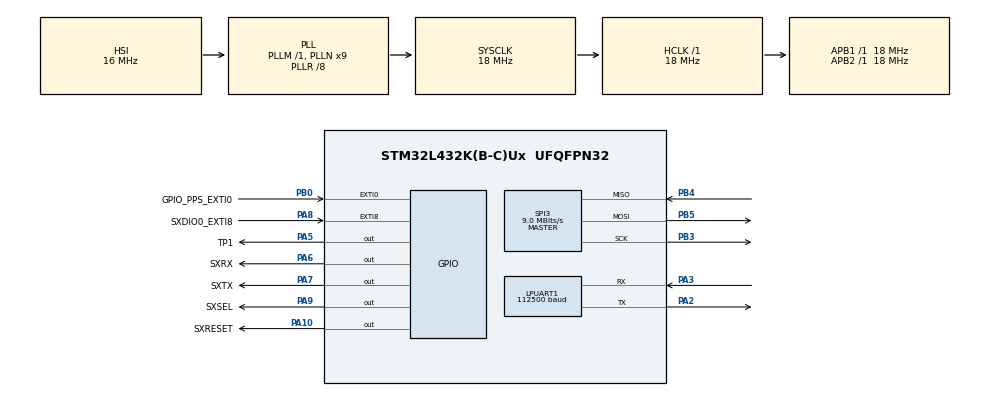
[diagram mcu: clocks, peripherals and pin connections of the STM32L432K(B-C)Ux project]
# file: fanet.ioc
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Mcu.Family=STM32L4
RCC.CortexFreq_Value=18000000
SPI3.Direction=SPI_DIRECTION_2LINES
SPI3.VirtualType=VM_MASTER
SPI3.NSSPMode=SPI_NSS_PULSE_DISABLE
PA2.GPIO_Speed=GPIO_SPEED_FREQ_VERY_HIGH
LPUART1.WordLength=UART_WORDLENGTH_8B
PB0.GPIO_Label=GPIO_PPS_EXTI0
PA6.GPIO_Label=SXRX
PB4\ (NJTRST).GPIO_Speed=GPIO_SPEED_FREQ_VERY_HIGH
PA3.GPIO_Speed=GPIO_SPEED_FREQ_VERY_HIGH
RCC.SYSCLKSource=RCC_SYSCLKSOURCE_PLLCLK
ProjectManager.StackSize=0x400
PB3\ (JTDO-TRACESWO).Signal=SPI3_SCK
PA14\ (JTCK-SWCLK).Signal=SYS_JTCK-SWCLK
NVIC.LPUART1_IRQn=true\:1\:0\:true\:false\:true\:true\:true
RCC.HCLKFreq_Value=18000000
RCC.APB2TimFreq_Value=18000000
RCC.AHBFreq_Value=18000000
SPI3.DataSize=SPI_DATASIZE_8BIT
RCC.HSE_VALUE=8000000
PB5.Mode=Full_Duplex_Master
PA10.GPIO_Label=SXRESET
PA8.Signal=GPXTI8
Dma.LPUART_RX.0.Direction=DMA_PERIPH_TO_MEMORY
Dma.LPUART_RX.0.Priority=DMA_PRIORITY_MEDIUM
Mcu.Package=UFQFPN32
PA6.Signal=GPIO_Output
SPI3.Mode=SPI_MODE_MASTER
PA10.Signal=GPIO_Output
PB5.GPIO_Speed=GPIO_SPEED_FREQ_VERY_HIGH
RCC.APB1TimFreq_Value=18000000
PA13\ (JTMS-SWDIO).Signal=SYS_JTMS-SWDIO
Dma.Request0=LPUART_RX
RCC.HSI48_VALUE=48000000
RCC.PLLSAI1N=24
PA3.Signal=LPUART1_RX
Dma.LPUART_RX.0.PeriphDataAlignment=DMA_PDATAALIGN_BYTE
RCC.MSI_VALUE=4000000
RCC.PLLSourceVirtual=RCC_PLLSOURCE_HSI
PA14\ (JTCK-SWCLK).Mode=Serial_Wire
PA9.GPIO_Label=SXSEL
Dma.LPUART_RX.0.Instance=DMA2_Channel7
Dma.LPUART_RX.0.MemDataAlignment=DMA_MDATAALIGN_BYTE
PA3.Mode=Asynchronous
PA8.GPIO_Label=SXDIO0_EXTI8
ProjectManager.TargetToolchain=SW4STM32
PA9.Signal=GPIO_Output
RCC.USBFreq_Value=192000000
RCC.LSE_VALUE=32768
PA5.Signal=GPIO_Output
board=fanet
SPI3.CLKPhase=SPI_PHASE_1EDGE
RCC.VCOOutputFreq_Value=144000000
Dma.LPUART_RX.0.Mode=DMA_CIRCULAR
RCC.APB2Freq_Value=18000000
SPI3.CalculateBaudRate=9.0 MBits/s
PB3\ (JTDO-TRACESWO).Mode=Full_Duplex_Master
RCC.ADCFreq_Value=192000000
SPI3.BaudRatePrescaler=SPI_BAUDRATEPRESCALER_2
PB4\ (NJTRST).Mode=Full_Duplex_Master
Mcu.Name=STM32L432K(B-C)Ux
LPUART1.BaudRate=112500
PA2.Signal=LPUART1_TX
PA13\ (JTMS-SWDIO).Mode=Serial_Wire
NVIC.EXTI0_IRQn=true\:3\:0\:true\:false\:true\:true\:true
RCC.SYSCLKFreq_VALUE=18000000
PB5.Signal=SPI3_MOSI
Dma.LPUART_RX.0.PeriphInc=DMA_PINC_DISABLE
PA7.GPIO_Label=SXTX
PA5.GPIO_Label=TP1
NVIC.EXTI9_5_IRQn=true\:2\:0\:true\:false\:true\:true\:true
ProjectManager.HeapSize=0x200
NVIC.DMA2_Channel7_IRQn=true\:0\:0\:false\:false\:true\:false\:true
RCC.HSI_VALUE=16000000
PA8.GPIO_PuPd=GPIO_PULLDOWN
NVIC.PriorityGroup=NVIC_PRIORITYGROUP_4
RCC.PLLR=RCC_PLLR_DIV8
RCC.PLLN=9
PA2.Mode=Asynchronous
Dma.LPUART_RX.0.MemInc=DMA_MINC_ENABLE
PB3\ (JTDO-TRACESWO).GPIO_Speed=GPIO_SPEED_FREQ_VERY_HIGH
RCC.APB1Freq_Value=18000000
PB0.Signal=GPXTI0
PB0.GPIO_PuPd=GPIO_PULLDOWN
PA7.Signal=GPIO_Output
PB4\ (NJTRST).Signal=SPI3_MISO

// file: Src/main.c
/* USER CODE BEGIN Header */
/**
  ******************************************************************************
  * @file           : main.c
  * @brief          : Main program body
  ******************************************************************************
  * @attention
  *
  * <h2><center>&copy; Copyright (c) 2020 STMicroelectronics.
  * All rights reserved.</center></h2>
  *
  * This software component is licensed by ST under BSD 3-Clause license,
  * the "License"; You may not use this file except in compliance with the
  * License. You may obtain a copy of the License at:
  *                        opensource.org/licenses/BSD-3-Clause
  *
  ******************************************************************************
  */
/* USER CODE END Header */

#include "main.h"
#include "dma.h"
#include "usart.h"
#include "spi.h"
#include "gpio.h"

/* USER CODE BEGIN Includes */

#include <stdio.h>
#include <stdbool.h>
#include <string.h>							//TBR!!!
#include <math.h>

#include "config.h"

#include "bootloader/bld_upd.h"
#include "fanet/fanet.h"
#include "fanet/radio/sx1272.h"
#include "fanet/wire/serial.h"

//  ../bootloader/xload-imgbuilder/Release/xload-imgbuilder Release/fanet.elf 5 dongle

/* USER CODE END Includes */

/* USER CODE BEGIN PV */
/* Private variables ---------------------------------------------------------*/
bool initialized = false;

/* USER CODE END PV */

void SystemClock_Config(void);
/* USER CODE BEGIN PFP */
/* Private function prototypes -----------------------------------------------*/
#ifdef DEBUG
extern void initialise_monitor_handles(void);
#endif

/* USER CODE END PFP */

/* USER CODE BEGIN 0 */

/* EXTI wrapper */
void HAL_GPIO_EXTI_Callback(uint16_t GPIO_Pin)
{
	if (!initialized)
		return;

	if (GPIO_Pin == SXDIO0_EXTI8_Pin)
		fanet_sx_int();

	if (GPIO_Pin == GPIO_PPS_EXTI0_Pin)
		fanet_pps_int();
}

/* USER CODE END 0 */

int main(void)
{

  /* MCU Configuration--------------------------------------------------------*/

  /* Reset of all peripherals, Initializes the Flash interface and the Systick. */
  HAL_Init();

  /* Configure the system clock */
  SystemClock_Config();

  /* Initialize all configured peripherals */
  MX_GPIO_Init();
  MX_DMA_Init();
  MX_LPUART1_UART_Init();
  MX_SPI3_Init();
  /* USER CODE BEGIN 2 */

	/* Debug */
#ifdef DEBUG
	/* semihosting */
//	initialise_monitor_handles();

	printf("### DEBUG Enabled\n");
#endif

	/* initialize serial */
	serial_t *serial = serial_init(HAL_UART_get());

#if 0
	/*
	 * WARNING this removes the read out protection and kills the bootloader!
	 */
	FLASH_OBProgramInitTypeDef obProgram = {0};
	obProgram.OptionType = OPTIONBYTE_RDP;
	obProgram.RDPLevel = OB_RDP_LEVEL_0;
	HAL_FLASH_Unlock();
	HAL_FLASH_OB_Unlock();
	HAL_FLASHEx_OBProgram(&obProgram);
	HAL_FLASH_OB_Launch();
	HAL_FLASH_OB_Lock();
	HAL_FLASH_Lock();
#endif

#ifdef UPDATE_BOOTLOADER
	bootloader_update(serial->uart);				//duration 10-250ms
#endif

	fanet_init(serial);

	initialized = true;

  /* USER CODE END 2 */

  /* Infinite loop */
  /* USER CODE BEGIN WHILE */
	while (1)
	{
		fanet_loop();

    /* USER CODE END WHILE */

	}
}

void SystemClock_Config(void)
{
  RCC_OscInitTypeDef RCC_OscInitStruct = {0};
  RCC_ClkInitTypeDef RCC_ClkInitStruct = {0};
  RCC_PeriphCLKInitTypeDef PeriphClkInit = {0};

  /** Initializes the CPU, AHB and APB busses clocks
  */
  RCC_OscInitStruct.OscillatorType = RCC_OSCILLATORTYPE_HSI;
  RCC_OscInitStruct.HSIState = RCC_HSI_ON;
  RCC_OscInitStruct.HSICalibrationValue = RCC_HSICALIBRATION_DEFAULT;
  RCC_OscInitStruct.PLL.PLLState = RCC_PLL_ON;
  RCC_OscInitStruct.PLL.PLLSource = RCC_PLLSOURCE_HSI;
  RCC_OscInitStruct.PLL.PLLM = 1;
  RCC_OscInitStruct.PLL.PLLN = 9;
  RCC_OscInitStruct.PLL.PLLP = RCC_PLLP_DIV7;
  RCC_OscInitStruct.PLL.PLLQ = RCC_PLLQ_DIV2;
  RCC_OscInitStruct.PLL.PLLR = RCC_PLLR_DIV8;
  if (HAL_RCC_OscConfig(&RCC_OscInitStruct) != HAL_OK)
  {
    Error_Handler();
  }
  /** Initializes the CPU, AHB and APB busses clocks
  */
  RCC_ClkInitStruct.ClockType = RCC_CLOCKTYPE_HCLK|RCC_CLOCKTYPE_SYSCLK
                              |RCC_CLOCKTYPE_PCLK1|RCC_CLOCKTYPE_PCLK2;
  RCC_ClkInitStruct.SYSCLKSource = RCC_SYSCLKSOURCE_PLLCLK;
  RCC_ClkInitStruct.AHBCLKDivider = RCC_SYSCLK_DIV1;
  RCC_ClkInitStruct.APB1CLKDivider = RCC_HCLK_DIV1;
  RCC_ClkInitStruct.APB2CLKDivider = RCC_HCLK_DIV1;

  if (HAL_RCC_ClockConfig(&RCC_ClkInitStruct, FLASH_LATENCY_1) != HAL_OK)
  {
    Error_Handler();
  }
  PeriphClkInit.PeriphClockSelection = RCC_PERIPHCLK_LPUART1;
  PeriphClkInit.Lpuart1ClockSelection = RCC_LPUART1CLKSOURCE_PCLK1;
  if (HAL_RCCEx_PeriphCLKConfig(&PeriphClkInit) != HAL_OK)
  {
    Error_Handler();
  }
  /** Configure the main internal regulator output voltage
  */
  if (HAL_PWREx_ControlVoltageScaling(PWR_REGULATOR_VOLTAGE_SCALE1) != HAL_OK)
  {
    Error_Handler();
  }
}

void Error_Handler(void)
{
	while (1)
	{
	}
}

/************************ (C) COPYRIGHT STMicroelectronics *****END OF FILE****/
